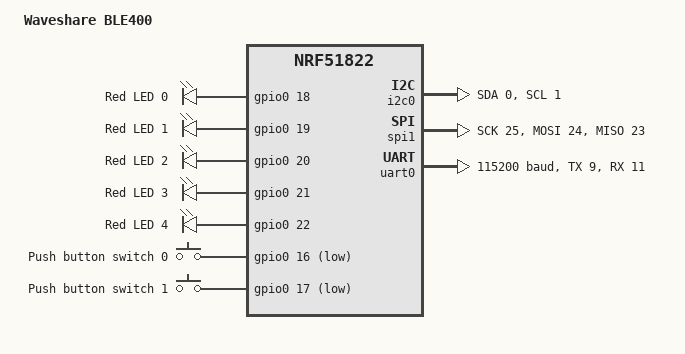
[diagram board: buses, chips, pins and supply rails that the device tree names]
/*
 * Copyright (c) 2018 Roman Tataurov <diytronic@yandex.ru>
 *
 * SPDX-License-Identifier: Apache-2.0
 */

/dts-v1/;
#include <nordic/nrf51822_qfaa.dtsi>

/ {
	model = "Waveshare BLE400";
	compatible = "waveshare,BLE400";

	chosen {
		zephyr,console = &uart0;
		zephyr,shell-uart = &uart0;
		zephyr,bt-mon-uart = &uart0;
		zephyr,bt-c2h-uart = &uart0;
		zephyr,sram = &sram0;
		zephyr,flash = &flash0;
	};

	/* These aliases are provided for compatibility with samples */
	aliases {
		led0 = &led0;
		led1 = &led1;
		led2 = &led2;
		led3 = &led3;
		led4 = &led4;
		sw0 = &button0;
		sw1 = &button1;
	};

	leds {
		compatible = "gpio-leds";
		led0: led_0 {
			gpios = <&gpio0 18 0>;
			label = "Red LED 0";
		};
		led1: led_1 {
			gpios = <&gpio0 19 0>;
			label = "Red LED 1";
		};
		led2: led_2 {
			gpios = <&gpio0 20 0>;
			label = "Red LED 2";
		};
		led3: led_3 {
			gpios = <&gpio0 21 0>;
			label = "Red LED 3";
		};
		led4: led_4 {
			gpios = <&gpio0 22 0>;
			label = "Red LED 4";
		};
	};

	buttons {
		/* Push button switch 0 KEY1 */
		compatible = "gpio-keys";
		button0: button_0 {
			gpios = <&gpio0 16 (GPIO_PULL_UP | GPIO_ACTIVE_LOW)>;
			label = "Push button switch 0";
		};
		/* Push button switch 1 KEY2 */
		button1: button_1 {
			gpios = <&gpio0 17 (GPIO_PULL_UP | GPIO_ACTIVE_LOW)>;
			label = "Push button switch 1";
		};
	};

};

&gpiote {
	status = "okay";
};

&gpio0 {
	status = "okay";
};

&i2c0 {
	status = "okay";
	sda-pin = <0>;
	scl-pin = <1>;
	/* smba-pin = <2>; */
};

&spi1 {
	compatible = "nordic,nrf-spi";
	status = "okay";
	sck-pin = <25>;
	mosi-pin = <24>;
	miso-pin = <23>;
	cs-gpios = <&gpio0 30 GPIO_ACTIVE_LOW>;
};

&uart0 {
	current-speed = <115200>;
	status = "okay";
	tx-pin = <9>;
	rx-pin = <11>;
	rts-pin = <8>;
	cts-pin = <10>;
};
